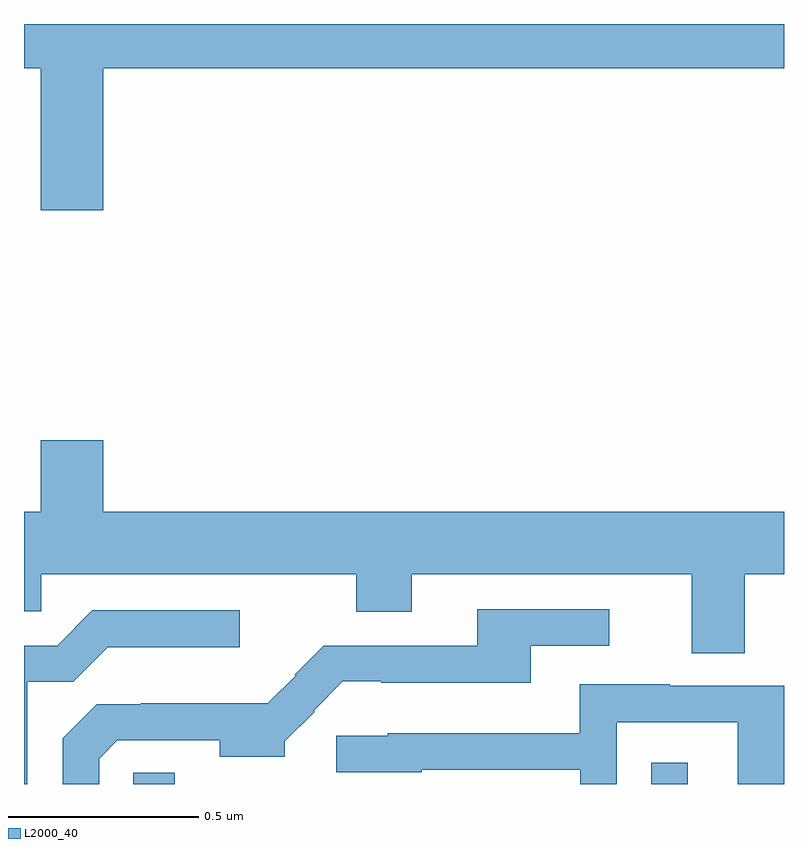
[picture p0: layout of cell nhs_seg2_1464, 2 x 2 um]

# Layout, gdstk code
import gdstk
lib = gdstk.Library(unit=1e-6, precision=1e-09)
def R(c, l, rs):  # rectangles x0, y0, x1, y1
    for r in rs: c.add(gdstk.rectangle(r[:2], r[2:], *l))
def P(c, l, *ps):  # polygons
    for p in ps: c.add(gdstk.Polygon(p, *l))
L2000_40 = (2000, 40)

nhs_seg2_1464 = lib.new_cell('nhs_seg2_1464')
R(nhs_seg2_1464, L2000_40, [(129.288,597.8,129.397,597.83), (130.65,597.8,130.747,597.856)])
P(nhs_seg2_1464, L2000_40, [(129.208,599.684),(131,599.684),(131,599.8),(129,599.8),(129,599.684),(129.044,599.684),(129.044,599.31),(129.208,599.31)],
  [(130.897,598.352),(131,598.352),(131,598.516),(129.208,598.516),(129.208,598.705),(129.044,598.705),(129.044,598.516),(129,598.516),(129,598.254),(129.045,598.254),(129.045,598.352),(129.874,598.352),(129.874,598.253),(130.021,598.253),(130.021,598.352),(130.757,598.352),(130.757,598.144),(130.897,598.144)],
  [(129.198,597.867),(129.246,597.915),(129.515,597.915),(129.515,597.872),(129.686,597.872),(129.686,597.912),(129.765,597.99),(129.762,597.993),(129.839,598.07),(129.94,598.07),(129.94,598.067),(130.333,598.067),(130.333,598.164),(130.54,598.164),(130.54,598.26),(130.193,598.26),(130.193,598.164),(129.789,598.164),(129.713,598.087),(129.715,598.085),(129.641,598.012),(129.307,598.012),(129.307,598.01),(129.191,598.01),(129.102,597.921),(129.102,597.8),(129.198,597.8)],
  [(129.009,598.069),(129.13,598.069),(129.221,598.16),(129.568,598.16),(129.568,598.257),(129.18,598.257),(129.087,598.164),(129,598.164),(129,597.8),(129.009,597.8)],
  [(130.56,597.963),(130.878,597.963),(130.878,597.8),(131,597.8),(131,598.059),(130.699,598.059),(130.699,598.063),(130.463,598.063),(130.463,597.934),(129.957,597.934),(129.957,597.927),(129.822,597.927),(129.822,597.831),(130.047,597.831),(130.047,597.837),(130.464,597.837),(130.464,597.8),(130.56,597.8)])

lib.write_gds('nhs_seg2_1464.gds')
